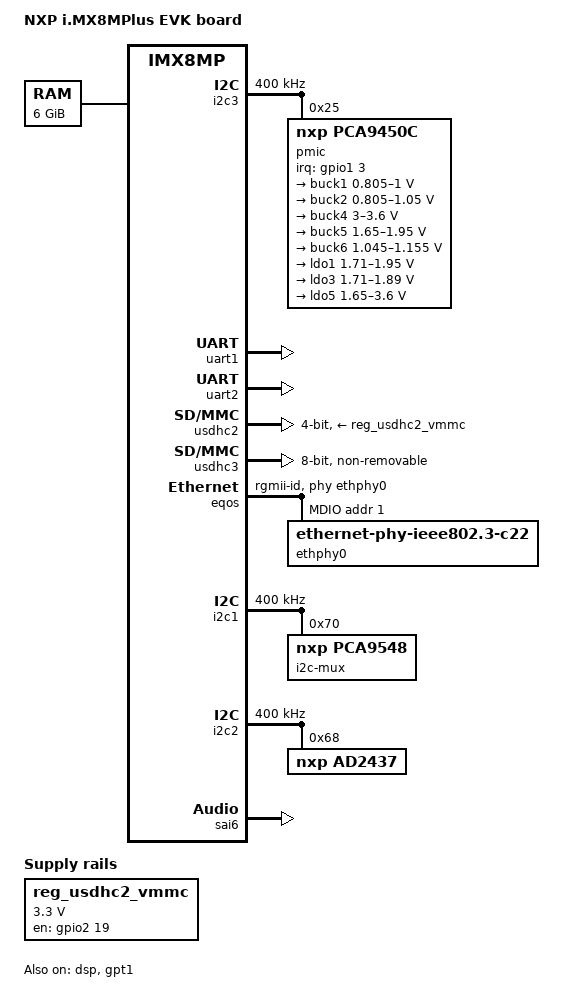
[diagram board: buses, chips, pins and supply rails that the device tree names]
/dts-v1/;

#include <dt-bindings/phy/phy-imx8-pcie.h>
#include <dt-bindings/usb/pd.h>
#include "imx8mp.dtsi"

&iomuxc {
	pinctrl_i2c3: i2c3grp {
		fsl,pins = <
			MX8MP_IOMUXC_I2C3_SCL__I2C3_SCL		0x400001c2
			MX8MP_IOMUXC_I2C3_SDA__I2C3_SDA		0x400001c2
		>;
	};
	pinctrl_i2c2: i2c2grp {
		fsl,pins = <
			MX8MP_IOMUXC_SD1_DATA6__I2C2_SCL		0x400001c2
			MX8MP_IOMUXC_SD1_DATA7__I2C2_SDA		0x400001c2
		>;
	};
	pinctrl_i2c1: i2c1grp {
		fsl,pins = <
			MX8MP_IOMUXC_I2C1_SCL__I2C1_SCL		0x400001c2
			MX8MP_IOMUXC_I2C1_SDA__I2C1_SDA     0x400001c2
		>;
	};
	pinctrl_pmic: pmicgrp {
		fsl,pins = <
			MX8MP_IOMUXC_GPIO1_IO03__GPIO1_IO03	0x000001c0
		>;
	};
	pinctrl_uart2: uart2grp {
		fsl,pins = <
			MX8MP_IOMUXC_SD1_DATA2__UART2_DCE_TX	0x142
			MX8MP_IOMUXC_SD1_DATA3__UART2_DCE_RX	0x142
		>;
	};
	pinctrl_uart1: uart1grp {
		fsl,pins = <
			MX8MP_IOMUXC_UART1_RXD__UART1_DCE_RX	0x142
			MX8MP_IOMUXC_UART1_TXD__UART1_DCE_TX	0x142
		>;
	};
	pinctrl_usdhc2: usdhc2grp {
		fsl,pins = <
			MX8MP_IOMUXC_SD2_CLK__USDHC2_CLK	0x190
			MX8MP_IOMUXC_SD2_CMD__USDHC2_CMD	0x1d0
			MX8MP_IOMUXC_SD2_DATA0__USDHC2_DATA0	0x1d0
			MX8MP_IOMUXC_SD2_DATA1__USDHC2_DATA1	0x1d0
			MX8MP_IOMUXC_SD2_DATA2__USDHC2_DATA2	0x1d0
			MX8MP_IOMUXC_SD2_DATA3__USDHC2_DATA3	0x1d0
			MX8MP_IOMUXC_GPIO1_IO04__USDHC2_VSELECT	0xc0
            MX8MP_IOMUXC_SD2_CD_B__USDHC2_CD_B      0x1c4
		>;
	};
	pinctrl_usdhc3: usdhc3grp {
		fsl,pins = <
			MX8MP_IOMUXC_NAND_WE_B__USDHC3_CLK	0x190
			MX8MP_IOMUXC_NAND_WP_B__USDHC3_CMD	0x1d0
			MX8MP_IOMUXC_NAND_DATA04__USDHC3_DATA0	0x1d0
			MX8MP_IOMUXC_NAND_DATA05__USDHC3_DATA1	0x1d0
			MX8MP_IOMUXC_NAND_DATA06__USDHC3_DATA2	0x1d0
			MX8MP_IOMUXC_NAND_DATA07__USDHC3_DATA3	0x1d0
			MX8MP_IOMUXC_NAND_RE_B__USDHC3_DATA4	0x1d0
			MX8MP_IOMUXC_NAND_CE2_B__USDHC3_DATA5	0x1d0
			MX8MP_IOMUXC_NAND_CE3_B__USDHC3_DATA6	0x1d0
			MX8MP_IOMUXC_NAND_CLE__USDHC3_DATA7	0x1d0
			MX8MP_IOMUXC_NAND_CE1_B__USDHC3_STROBE	0x190
		>;
	};
	pinctrl_eqos: eqosgrp {
		fsl,pins = <
			MX8MP_IOMUXC_ENET_MDC__ENET_QOS_MDC				0x2
			MX8MP_IOMUXC_ENET_MDIO__ENET_QOS_MDIO				0x2
			MX8MP_IOMUXC_ENET_RD0__ENET_QOS_RGMII_RD0			0x90
			MX8MP_IOMUXC_ENET_RD1__ENET_QOS_RGMII_RD1			0x90
			MX8MP_IOMUXC_ENET_RD2__ENET_QOS_RGMII_RD2			0x90
			MX8MP_IOMUXC_ENET_RD3__ENET_QOS_RGMII_RD3			0x90
			MX8MP_IOMUXC_ENET_RXC__CCM_ENET_QOS_CLOCK_GENERATE_RX_CLK	0x90
			MX8MP_IOMUXC_ENET_RX_CTL__ENET_QOS_RGMII_RX_CTL			0x90
			MX8MP_IOMUXC_ENET_TD0__ENET_QOS_RGMII_TD0			0x16
			MX8MP_IOMUXC_ENET_TD1__ENET_QOS_RGMII_TD1			0x16
			MX8MP_IOMUXC_ENET_TD2__ENET_QOS_RGMII_TD2			0x16
			MX8MP_IOMUXC_ENET_TD3__ENET_QOS_RGMII_TD3			0x16
			MX8MP_IOMUXC_ENET_TX_CTL__ENET_QOS_RGMII_TX_CTL			0x16
			MX8MP_IOMUXC_ENET_TXC__CCM_ENET_QOS_CLOCK_GENERATE_TX_CLK	0x16
		>;
	};

	pinctrl_sai6: sai6grp {
		fsl,pins = <
			MX8MP_IOMUXC_SAI1_RXD4__AUDIOMIX_SAI6_TX_BCLK 			0xd6
			MX8MP_IOMUXC_SAI1_RXD5__AUDIOMIX_SAI6_TX_DATA00 		0xd6
			MX8MP_IOMUXC_SAI1_RXD6__AUDIOMIX_SAI6_TX_SYNC 			0xd6
			MX8MP_IOMUXC_SAI1_RXD7__AUDIOMIX_SAI6_MCLK 			0xd6
		>;
	};
};

/ {
	model = "NXP i.MX8MPlus EVK board";
	compatible = "fsl,imx8mp-evk", "fsl,imx8mp";

	chosen {
		stdout-path = &uart2;
	};

	memory@40000000 {
		device_type = "memory";
		reg = <0x0 0x40000000 0 0xc0000000>,
		      <0x1 0x00000000 0 0xc0000000>;
	};

	reg_usdhc2_vmmc: regulator-usdhc2 {
		compatible = "regulator-fixed";
		pinctrl-names = "default";
		regulator-name = "VSD_3V3";
		regulator-min-microvolt = <3300000>;
		regulator-max-microvolt = <3300000>;
		gpio = <&gpio2 19 GPIO_ACTIVE_HIGH>;
		enable-active-high;
	};

	sound_ad2437 {
		compatible = "simple-audio-card";
		simple-audio-card,name = "sai6-dummy-card";
		simple-audio-card,format = "i2s";
		simple-audio-card,bitclock-master = <&cpu_dai>;
		simple-audio-card,frame-master = <&cpu_dai>;

		cpu_dai: simple-audio-card,cpu {
			sound-dai = <&sai6>;
		};

		codec_dai: simple-audio-card,codec {
			sound-dai = <&dummy_codec>;
		};
	};

	/* declare a dummy codec node */
	dummy_codec: dummy-codec {
		compatible = "linux,snd-soc-dummy";
		#sound-dai-cells = <0>;
	};
};

&i2c3 {
	clock-frequency = <400000>;
	pinctrl-names = "default";
	pinctrl-0 = <&pinctrl_i2c3>;
	status = "okay";

	pmic@25 {
		compatible = "nxp,pca9450c";
		reg = <0x25>;
		pinctrl-names = "default";
		pinctrl-0 = <&pinctrl_pmic>;
		interrupt-parent = <&gpio1>;
		interrupts = <3 IRQ_TYPE_LEVEL_LOW>;

		regulators {
			buck1: BUCK1 {
				regulator-name = "BUCK1";
				regulator-min-microvolt = <805000>;
				regulator-max-microvolt = <1000000>;
				regulator-boot-on;
				regulator-always-on;
				regulator-ramp-delay = <3125>;
			};

			buck2: BUCK2 {
				regulator-name = "BUCK2";
				regulator-min-microvolt = <805000>;
				regulator-max-microvolt = <1050000>;
				regulator-boot-on;
				regulator-always-on;
				regulator-ramp-delay = <3125>;
				nxp,dvs-run-voltage = <1000000>;
				nxp,dvs-standby-voltage = <950000>;
			};

			buck4: BUCK4{
				regulator-name = "BUCK4";
				regulator-min-microvolt = <3000000>;
				regulator-max-microvolt = <3600000>;
				regulator-boot-on;
				regulator-always-on;
			};

			buck5: BUCK5{
				regulator-name = "BUCK5";
				regulator-min-microvolt = <1650000>;
				regulator-max-microvolt = <1950000>;
				regulator-boot-on;
				regulator-always-on;
			};

			buck6: BUCK6 {
				regulator-name = "BUCK6";
				regulator-min-microvolt = <1045000>;
				regulator-max-microvolt = <1155000>;
				regulator-boot-on;
				regulator-always-on;
			};

			ldo1: LDO1 {
				regulator-name = "LDO1";
				regulator-min-microvolt = <1710000>;
				regulator-max-microvolt = <1950000>;
				regulator-boot-on;
				regulator-always-on;
			};

			ldo3: LDO3 {
				regulator-name = "LDO3";
				regulator-min-microvolt = <1710000>;
				regulator-max-microvolt = <1890000>;
				regulator-boot-on;
				regulator-always-on;
			};

			ldo5: LDO5 {
				regulator-name = "LDO5";
				regulator-min-microvolt = <1650000>;
				regulator-max-microvolt = <3600000>;
				regulator-boot-on;
				regulator-always-on;
			};
		};
	};
};

&uart1 {
	pinctrl-names = "default";
	pinctrl-0 = <&pinctrl_uart1>;
	status = "okay";
};

&uart2 {
	/* console */
	pinctrl-names = "default";
	pinctrl-0 = <&pinctrl_uart2>;
	status = "okay";
};

&usdhc2 {
	assigned-clocks = <&clk IMX8MP_CLK_USDHC2>;
	assigned-clock-rates = <400000000>;
	pinctrl-names = "default";
	pinctrl-0 = <&pinctrl_usdhc2>;
	vmmc-supply = <&reg_usdhc2_vmmc>;
	bus-width = <4>;
	status = "okay";
};

&usdhc3 {
	assigned-clocks = <&clk IMX8MP_CLK_USDHC3>;
	assigned-clock-rates = <400000000>;
	pinctrl-names = "default";
	pinctrl-0 = <&pinctrl_usdhc3>;
	bus-width = <8>;
	non-removable;
	status = "okay";
};

&eqos {
	pinctrl-names = "default";
	pinctrl-0 = <&pinctrl_eqos>;
	phy-mode = "rgmii-id";
	phy-handle = <&ethphy0>;
	snps,force_thresh_dma_mode;
	snps,mtl-tx-config = <&mtl_tx_setup>;
	snps,mtl-rx-config = <&mtl_rx_setup>;
	status = "okay";

	mdio {
		compatible = "snps,dwmac-mdio";
		#address-cells = <1>;
		#size-cells = <0>;

		ethphy0: ethernet-phy@1 {
			compatible = "ethernet-phy-ieee802.3-c22";
			reg = <1>;
			eee-broken-1000t;
			reset-assert-us = <10000>;
			reset-deassert-us = <80000>;
			realtek,clkout-disable;
		};
	};

	mtl_tx_setup: tx-queues-config {
		snps,tx-queues-to-use = <4>;
		snps,tx-sched-sp;

		queue0 {
			snps,dcb-algorithm;
			snps,priority = <0x1>;
		};

		queue1 {
			snps,dcb-algorithm;
			snps,priority = <0x2>;
		};

		queue2 {
			snps,dcb-algorithm;
			snps,priority = <0x4>;
		};

		queue3 {
			snps,dcb-algorithm;
			snps,priority = <0xf8>;
		};
	};

	mtl_rx_setup: rx-queues-config {
		snps,rx-queues-to-use = <4>;
		snps,rx-sched-sp;

		queue0 {
			snps,dcb-algorithm;
			snps,priority = <0x1>;
			snps,map-to-dma-channel = <0>;
		};

		queue1 {
			snps,dcb-algorithm;
			snps,priority = <0x2>;
			snps,map-to-dma-channel = <1>;
		};

		queue2 {
			snps,dcb-algorithm;
			snps,priority = <0x4>;
			snps,map-to-dma-channel = <2>;
		};

		queue3 {
			snps,dcb-algorithm;
			snps,priority = <0xf8>;
			snps,map-to-dma-channel = <3>;
		};
	};
};

&dsp {
	compatible = "fsl,imx8mp-hifi4";
	reg = <0x0 0x3B6E8000 0x0 0x88000>;
	pinctrl-0 = <&pinctrl_uart1>;
	assigned-clocks = <&clk IMX8MP_CLK_SAI2>;
	assigned-clock-parents = <&clk IMX8MP_AUDIO_PLL1_OUT>;
	assigned-clock-rates = <24576000>;
	clocks = <&audio_blk_ctrl IMX8MP_CLK_AUDIO_BLK_CTRL_OCRAMA_IPG>,
		<&audio_blk_ctrl IMX8MP_CLK_AUDIO_BLK_CTRL_DSP_ROOT>,
		<&audio_blk_ctrl IMX8MP_CLK_AUDIO_BLK_CTRL_DSPDBG_ROOT>,
		<&audio_blk_ctrl IMX8MP_CLK_AUDIO_BLK_CTRL_SDMA3_ROOT>,
		<&audio_blk_ctrl IMX8MP_CLK_AUDIO_BLK_CTRL_ASRC_IPG>,
		<&clk IMX8MP_CLK_UART1_ROOT>;
	clock-names = "ocram", "core", "debug", "per_clk1", "per_clk2", "per_clk3";
	firmware-name = "imx/dsp/hifi4.bin";
	power-domains = <&audiomix_pd>;
	mbox-names = "tx0", "rx0", "rxdb0";
	mboxes = <&mu2 0 0>, <&mu2 1 0>, <&mu2 3 0>;
	memory-region = <&dsp_vdev0buffer>, <&dsp_vdev0vring0>, <&dsp_vdev0vring1>, <&dsp_reserved>;
	syscon = <&audio_blk_ctrl>;
	status = "okay";
};

&gpt1 {
	compatible = "fsl,avb-gpt";
	timer-channel = <1>; /* Use output compare channel 1*/
	rec-channel = <1 0 1>; // capture channel, eth port, ENET TC id
	prescale = <1>;
	domain = <0>;

	clocks = <&clk IMX8MP_CLK_GPT1_ROOT>,
		<&clk IMX8MP_CLK_GPT1_ROOT>,
		<&clk IMX8MP_AUDIO_PLL1>;
	clock-names = "ipg", "per", "audio_pll";

	/* Make the GPT clk root derive from the audio PLL*/
	assigned-clocks = <&clk IMX8MP_CLK_GPT1>;
	assigned-clock-parents = <&clk IMX8MP_AUDIO_PLL1_OUT>;
	assigned-clock-rates = <0>;

	gpt1_capin1_sel = <&gpr 0x4 2>;

	status = "okay";
};

&i2c1 {
	clock-frequency = <400000>;
	pinctrl-names = "default";
	pinctrl-0 = <&pinctrl_i2c1>;
	status = "okay";

	i2c-mux@70 {
		compatible = "nxp,pca9548";
		#address-cells = <1>;
		#size-cells = <0>;
		reg = <0x70>;
	};
};

&i2c2 {
	clock-frequency = <400000>;
	pinctrl-names = "default";
	pinctrl-0 = <&pinctrl_i2c2>;
	status = "okay";

	ad2437: ad2437@68 {
		compatible = "nxp,ad2437";
		#address-cells = <1>;
		#size-cells = <0>;
		#sound-dai-cells = <0>;
		reg = <0x68>;
	};
};

&sai6 {
	#sound-dai-cells = <0>;
	pinctrl-names = "default";
	pinctrl-0 = <&pinctrl_sai6>;
	assigned-clocks = <&clk IMX8MP_CLK_SAI6>;
	assigned-clock-parents = <&clk IMX8MP_AUDIO_PLL1_OUT>;
	assigned-clock-rates = <24576000>; // For 48kHz sample rates 
	clocks = <&audio_blk_ctrl IMX8MP_CLK_AUDIO_BLK_CTRL_SAI6_IPG>, <&clk IMX8MP_CLK_DUMMY>,
		 <&audio_blk_ctrl IMX8MP_CLK_AUDIO_BLK_CTRL_SAI6_MCLK1>, <&clk IMX8MP_CLK_DUMMY>,
		 <&clk IMX8MP_CLK_DUMMY>;
	clock-names = "bus", "mclk0", "mclk1", "mclk2", "mclk3";
	fsl,sai-mclk-direction-output;
	fsl,sai-asynchronous;
	status = "okay";
};
